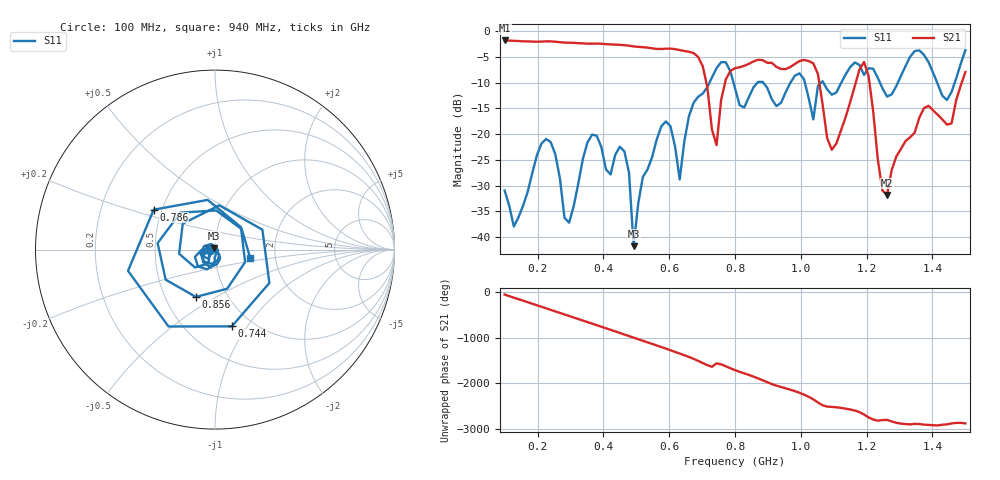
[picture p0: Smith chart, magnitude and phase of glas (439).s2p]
! NanoVNA-App
! Date: 2025-09-25 15:58:53
! Start: 100MHz Stop: 1,5GHz Points: 101
! S-Parameter data: F S11 S21 S12 S22
# Hz S RI R 50
!  Frequency  S11_Real  S11_Imag  S21_Real  S21_Imag  S12_Real  S12_Imag  S22_Real  S22_Imag
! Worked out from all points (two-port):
!   101 points, 100 MHz to 1.5 GHz, reference 50 ohm
!   highest |S21| = -1.80 dB at 100 MHz (marker M1); lowest = -31.8 dB at 1.262 GHz (marker M2)
!   |S21| within 3 dB of the highest: start of sweep to 684.4 MHz
!   lowest |S11| = -41.7 dB at 492 MHz (marker M3), VSWR 1.02, Z = 49.5 + j0.618 ohm
!   |S11| at or under -10 dB: start of sweep to 722.4 MHz; 795.4 MHz to 868 MHz (72.55 MHz wide, 8.72 % of centre); 885.8 MHz to 968.4 MHz (82.58 MHz wide, 8.91 % of centre) (the widest 3 of 7)
!   S12 and S22 are empty: the file has one direction only
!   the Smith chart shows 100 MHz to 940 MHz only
!   S11 on the Smith chart (normalised r, x): 100 MHz: 0.95, -0.01; 744 MHz: 0.81, -0.85; 786 MHz: 0.45, +0.24; 856 MHz: 0.71, -0.41; 940 MHz: 1.48, -0.15
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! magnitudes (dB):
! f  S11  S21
! 100 MHz  -30.9  -1.8
! 128 MHz  -37.9  -1.9
! 226 MHz  -20.9  -2.0
! 296 MHz  -37.2  -2.2
! 338 MHz  -24.7  -2.4
! 464 MHz  -23.3  -2.7
! 492 MHz  -41.7  -3.0
! 576 MHz  -18.5  -3.5
! 632 MHz  -28.8  -3.7
! 702 MHz  -12.1  -6.8
! 744 MHz  -7.2  -22.1
! 786 MHz  -7.8  -7.7
! 800 MHz  -11.1  -7.2
! 856 MHz  -10.9  -5.9
! 940 MHz  -13.9  -7.3
! 996 MHz  -8.2  -5.8
! 1.038 GHz  -17.1  -6.3
! 1.094 GHz  -12.3  -23.0
! 1.192 GHz  -8.5  -6.0
! 1.262 GHz  -12.7  -31.8
! 1.276 GHz  -12.3  -27.0
! 1.5 GHz  -3.7  -7.9
